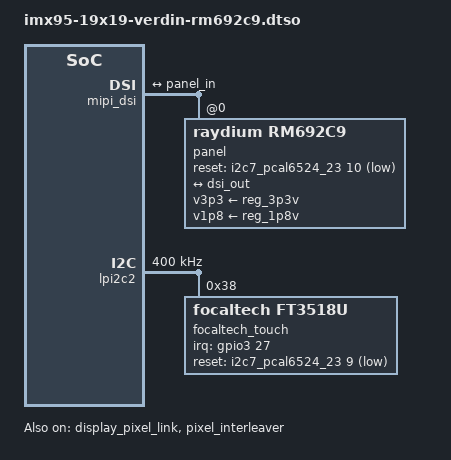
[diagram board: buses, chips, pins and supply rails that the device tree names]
// SPDX-License-Identifier: (GPL-2.0+ OR MIT)
/*
 * Copyright 2024 NXP
 */

/dts-v1/;
/plugin/;

#include <dt-bindings/gpio/gpio.h>
#include "imx95-clock.h"

&display_pixel_link {
	status = "okay";
};

&dpu {
	assigned-clocks = <&scmi_clk IMX95_CLK_DISP1PIX>,
			  <&scmi_clk IMX95_CLK_VIDEOPLL1_VCO>,
			  <&scmi_clk IMX95_CLK_VIDEOPLL1>;
	assigned-clock-parents = <&scmi_clk IMX95_CLK_VIDEOPLL1>;
	assigned-clock-rates = <0>, <4008000000>, <445333334>;
};

&mipi_dsi {
	#address-cells = <1>;
	#size-cells = <0>;
	status = "okay";

	panel@0 {
		compatible = "raydium,rm692c9";
		reg = <0>;
		reset-gpios = <&i2c7_pcal6524_23 10 GPIO_ACTIVE_LOW>;
		dsi-lanes = <4>;
		v3p3-supply = <&reg_3p3v>;
		v1p8-supply = <&reg_1p8v>;

		port {
			panel_in: endpoint {
				remote-endpoint = <&dsi_out>;
			};
		};
	};

	ports {
		#address-cells = <1>;
		#size-cells = <0>;

		port@1 {
			reg = <1>;

			dsi_out: endpoint {
				remote-endpoint = <&panel_in>;
			};
		};
	};
};

&lpi2c2 {
	#address-cells = <1>;
	#size-cells = <0>;
	clock-frequency = <400000>;

	focaltech_touch: touchscreen@38 {
		compatible = "focaltech,ft3518u";
		reg = <0x38>;
		pinctrl-names = "default";
		pinctrl-0 = <&pinctrl_mipi_dsi_csi>;
		irq-gpio = <&gpio3 27 GPIO_ACTIVE_HIGH>;
		reset-gpio = <&i2c7_pcal6524_23 9 GPIO_ACTIVE_LOW>;
		touchscreen-size-x = <1080>;
		touchscreen-size-y = <2340>;
		max-touch-number = <10>;
		status = "okay";
	};
};

&pixel_interleaver {
	#address-cells = <1>;
	#size-cells = <0>;
	status = "okay";

	channel@0 {
		reg = <0>;
		status = "okay";
	};
};
